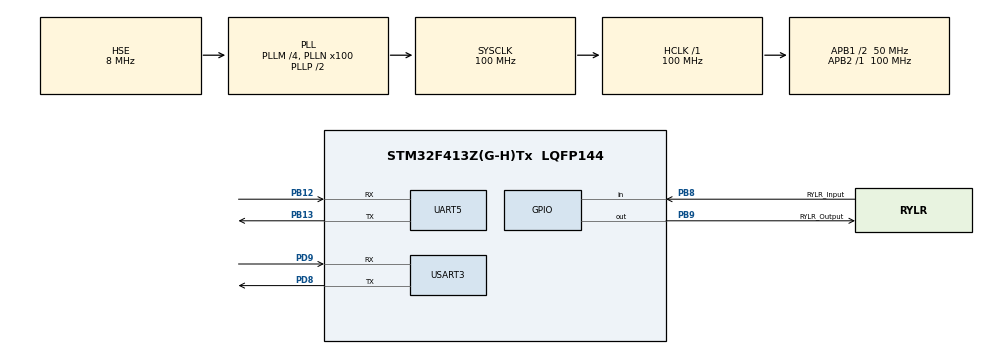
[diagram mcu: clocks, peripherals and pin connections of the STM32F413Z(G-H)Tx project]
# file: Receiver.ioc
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Dma.Request0=UART5_RX
Dma.UART5_RX.0.Direction=DMA_PERIPH_TO_MEMORY
Dma.UART5_RX.0.FIFOMode=DMA_FIFOMODE_DISABLE
Dma.UART5_RX.0.Instance=DMA1_Stream0
Dma.UART5_RX.0.MemDataAlignment=DMA_MDATAALIGN_BYTE
Dma.UART5_RX.0.MemInc=DMA_MINC_ENABLE
Dma.UART5_RX.0.Mode=DMA_NORMAL
Dma.UART5_RX.0.PeriphDataAlignment=DMA_PDATAALIGN_BYTE
Dma.UART5_RX.0.PeriphInc=DMA_PINC_DISABLE
Dma.UART5_RX.0.Priority=DMA_PRIORITY_LOW
Mcu.Family=STM32F4
Mcu.Name=STM32F413Z(G-H)Tx
Mcu.Package=LQFP144
NVIC.DMA1_Stream0_IRQn=true\:0\:0\:false\:false\:true\:false\:true\:true
NVIC.PriorityGroup=NVIC_PRIORITYGROUP_4
NVIC.TIM1_UP_TIM10_IRQn=true\:15\:0\:false\:false\:true\:false\:true\:true
NVIC.TimeBase=TIM1_UP_TIM10_IRQn
NVIC.TimeBaseIP=TIM1
NVIC.USART3_IRQn=true\:0\:0\:false\:false\:true\:true\:true\:true
PA13.Mode=Serial_Wire
PA13.Signal=SYS_JTMS-SWDIO
PA14.Mode=Serial_Wire
PA14.Signal=SYS_JTCK-SWCLK
PB12.Mode=Asynchronous
PB12.Signal=UART5_RX
PB13.Mode=Asynchronous
PB13.Signal=UART5_TX
PB8.GPIO_Label=RYLR_Input
PB8.Signal=GPIO_Input
PB9.GPIO_Label=RYLR_Output
PB9.Signal=GPIO_Output
PD8.Mode=Asynchronous
PD8.Signal=USART3_TX
PD9.Mode=Asynchronous
PD9.Signal=USART3_RX
PH0\ -\ OSC_IN.Mode=HSE-External-Oscillator
PH0\ -\ OSC_IN.Signal=RCC_OSC_IN
PH1\ -\ OSC_OUT.Mode=HSE-External-Oscillator
PH1\ -\ OSC_OUT.Signal=RCC_OSC_OUT
ProjectManager.HeapSize=0x200
ProjectManager.StackSize=0x400
ProjectManager.TargetToolchain=STM32CubeIDE
RCC.AHBFreq_Value=100000000
RCC.APB1CLKDivider=RCC_HCLK_DIV2
RCC.APB1Freq_Value=50000000
RCC.APB1TimFreq_Value=100000000
RCC.APB2Freq_Value=100000000
RCC.APB2TimFreq_Value=100000000
RCC.CortexFreq_Value=100000000
RCC.HCLKFreq_Value=100000000
RCC.HSE_VALUE=8000000
RCC.PLLM=4
RCC.PLLN=100
RCC.PLLSourceVirtual=RCC_PLLSOURCE_HSE
RCC.SYSCLKFreq_VALUE=100000000
RCC.SYSCLKSource=RCC_SYSCLKSOURCE_PLLCLK
RCC.USBFreq_Value=100000000
RCC.VCOOutputFreq_Value=200000000
UART5.VirtualMode=Asynchronous
USART3.VirtualMode=VM_ASYNC
VP_SYS_VS_tim1.Mode=TIM1
board=custom

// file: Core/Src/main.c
/* USER CODE BEGIN Header */
/**
  ******************************************************************************
  * @file           : main.c
  * @brief          : Main program body
  ******************************************************************************
  * @attention
  *
  * Copyright (c) 2022 STMicroelectronics.
  * All rights reserved.
  *
  * This software is licensed under terms that can be found in the LICENSE file
  * in the root directory of this software component.
  * If no LICENSE file comes with this software, it is provided AS-IS.
  *
  ******************************************************************************
  */
/* USER CODE END Header */
#include "main.h"

UART_HandleTypeDef huart5;
UART_HandleTypeDef huart3;
DMA_HandleTypeDef hdma_uart5_rx;

void SystemClock_Config(void);
static void MX_GPIO_Init(void);
static void MX_DMA_Init(void);
static void MX_USART3_UART_Init(void);
static void MX_UART5_Init(void);

/* USER CODE BEGIN 0 */

#define RxBuf_SIZE 84

uint8_t RxBuf[RxBuf_SIZE];

uint8_t buffer_ok[5];
uint8_t whoops[] = "Whoops\r\n";

void HAL_UARTEx_RxEventCallback(UART_HandleTypeDef *huart, uint16_t Size){

	/* PRINTING */

	 HAL_UART_Transmit(&huart3, RxBuf, RxBuf_SIZE, 100);

	/* start the DMA again */

	 HAL_UARTEx_ReceiveToIdle_DMA(&huart5, RxBuf, RxBuf_SIZE);
	 __HAL_DMA_DISABLE_IT(&hdma_uart5_rx, DMA_IT_HT);
}

/* USER CODE END 0 */

int main(void)
{

  /* MCU Configuration--------------------------------------------------------*/

  /* Reset of all peripherals, Initializes the Flash interface and the Systick. */
  HAL_Init();

  /* Configure the system clock */
  SystemClock_Config();

  /* Initialize all configured peripherals */
  MX_GPIO_Init();
  MX_DMA_Init();
  MX_USART3_UART_Init();
  MX_UART5_Init();
  /* USER CODE BEGIN 2 */

  uint8_t buffer[19] = "AT+BAND=868500000\r\n";
	uint8_t buffer4[16] = "AT+NETWORKID=5\r\n";
	uint8_t buffer5[16] = "AT+ADDRESS=102\r\n";

	  HAL_UART_Transmit(&huart5, buffer, sizeof(buffer), 100);

	  HAL_StatusTypeDef status1 = HAL_UART_Receive(&huart5, buffer_ok, sizeof(buffer_ok), 1000);
	  if(status1 != HAL_OK){
		  HAL_UART_Transmit(&huart3, whoops, sizeof(whoops), 100);
	  }
	  else{
		  HAL_UART_Transmit(&huart3, buffer_ok, sizeof(buffer_ok), 100);
	  }

	  HAL_Delay(1000);

	  HAL_UART_Transmit(&huart5, buffer4, sizeof(buffer4), 100);

		HAL_StatusTypeDef status2 = HAL_UART_Receive(&huart5, buffer_ok, sizeof(buffer_ok), 1000);
		if(status2 != HAL_OK){
		  HAL_UART_Transmit(&huart3, whoops, sizeof(whoops), 100);
		}
		else{
		  HAL_UART_Transmit(&huart3, buffer_ok, sizeof(buffer_ok), 100);
		}

		HAL_Delay(1000);

		HAL_UART_Transmit(&huart5, buffer5, sizeof(buffer5), 100);

	  HAL_StatusTypeDef status4 = HAL_UART_Receive(&huart5, buffer_ok, sizeof(buffer_ok), 1000);
	  if(status4 != HAL_OK){
		  HAL_UART_Transmit(&huart3, whoops, sizeof(whoops), 100);
	  }
	  else{
		  HAL_UART_Transmit(&huart3, buffer_ok, sizeof(buffer_ok), 100);
	  }

  HAL_UARTEx_ReceiveToIdle_DMA(&huart5, RxBuf, RxBuf_SIZE);
  __HAL_DMA_DISABLE_IT(&hdma_uart5_rx, DMA_IT_HT);

  /* USER CODE END 2 */

  /* Infinite loop */
  while (1)
  {

  }
}

void SystemClock_Config(void)
{
  RCC_OscInitTypeDef RCC_OscInitStruct = {0};
  RCC_ClkInitTypeDef RCC_ClkInitStruct = {0};

  /** Configure the main internal regulator output voltage
  */
  __HAL_RCC_PWR_CLK_ENABLE();
  __HAL_PWR_VOLTAGESCALING_CONFIG(PWR_REGULATOR_VOLTAGE_SCALE1);

  /** Initializes the RCC Oscillators according to the specified parameters
  * in the RCC_OscInitTypeDef structure.
  */
  RCC_OscInitStruct.OscillatorType = RCC_OSCILLATORTYPE_HSE;
  RCC_OscInitStruct.HSEState = RCC_HSE_ON;
  RCC_OscInitStruct.PLL.PLLState = RCC_PLL_ON;
  RCC_OscInitStruct.PLL.PLLSource = RCC_PLLSOURCE_HSE;
  RCC_OscInitStruct.PLL.PLLM = 4;
  RCC_OscInitStruct.PLL.PLLN = 100;
  RCC_OscInitStruct.PLL.PLLP = RCC_PLLP_DIV2;
  RCC_OscInitStruct.PLL.PLLQ = 2;
  RCC_OscInitStruct.PLL.PLLR = 2;
  if (HAL_RCC_OscConfig(&RCC_OscInitStruct) != HAL_OK)
  {
    Error_Handler();
  }

  /** Initializes the CPU, AHB and APB buses clocks
  */
  RCC_ClkInitStruct.ClockType = RCC_CLOCKTYPE_HCLK|RCC_CLOCKTYPE_SYSCLK
                              |RCC_CLOCKTYPE_PCLK1|RCC_CLOCKTYPE_PCLK2;
  RCC_ClkInitStruct.SYSCLKSource = RCC_SYSCLKSOURCE_PLLCLK;
  RCC_ClkInitStruct.AHBCLKDivider = RCC_SYSCLK_DIV1;
  RCC_ClkInitStruct.APB1CLKDivider = RCC_HCLK_DIV2;
  RCC_ClkInitStruct.APB2CLKDivider = RCC_HCLK_DIV1;

  if (HAL_RCC_ClockConfig(&RCC_ClkInitStruct, FLASH_LATENCY_3) != HAL_OK)
  {
    Error_Handler();
  }
}

static void MX_UART5_Init(void)
{

  huart5.Instance = UART5;
  huart5.Init.BaudRate = 115200;
  huart5.Init.WordLength = UART_WORDLENGTH_8B;
  huart5.Init.StopBits = UART_STOPBITS_1;
  huart5.Init.Parity = UART_PARITY_NONE;
  huart5.Init.Mode = UART_MODE_TX_RX;
  huart5.Init.HwFlowCtl = UART_HWCONTROL_NONE;
  huart5.Init.OverSampling = UART_OVERSAMPLING_16;
  if (HAL_UART_Init(&huart5) != HAL_OK)
  {
    Error_Handler();
  }

}

static void MX_USART3_UART_Init(void)
{

  huart3.Instance = USART3;
  huart3.Init.BaudRate = 115200;
  huart3.Init.WordLength = UART_WORDLENGTH_8B;
  huart3.Init.StopBits = UART_STOPBITS_1;
  huart3.Init.Parity = UART_PARITY_NONE;
  huart3.Init.Mode = UART_MODE_TX_RX;
  huart3.Init.HwFlowCtl = UART_HWCONTROL_NONE;
  huart3.Init.OverSampling = UART_OVERSAMPLING_16;
  if (HAL_UART_Init(&huart3) != HAL_OK)
  {
    Error_Handler();
  }

}

static void MX_DMA_Init(void)
{

  /* DMA controller clock enable */
  __HAL_RCC_DMA1_CLK_ENABLE();

  /* DMA interrupt init */
  /* DMA1_Stream0_IRQn interrupt configuration */
  HAL_NVIC_SetPriority(DMA1_Stream0_IRQn, 0, 0);
  HAL_NVIC_EnableIRQ(DMA1_Stream0_IRQn);

}

static void MX_GPIO_Init(void)
{
  GPIO_InitTypeDef GPIO_InitStruct = {0};

  /* GPIO Ports Clock Enable */
  __HAL_RCC_GPIOH_CLK_ENABLE();
  __HAL_RCC_GPIOB_CLK_ENABLE();
  __HAL_RCC_GPIOD_CLK_ENABLE();
  __HAL_RCC_GPIOA_CLK_ENABLE();

  /*Configure GPIO pin Output Level */
  HAL_GPIO_WritePin(RYLR_Output_GPIO_Port, RYLR_Output_Pin, GPIO_PIN_RESET);

  /*Configure GPIO pin : RYLR_Input_Pin */
  GPIO_InitStruct.Pin = RYLR_Input_Pin;
  GPIO_InitStruct.Mode = GPIO_MODE_INPUT;
  GPIO_InitStruct.Pull = GPIO_NOPULL;
  HAL_GPIO_Init(RYLR_Input_GPIO_Port, &GPIO_InitStruct);

  /*Configure GPIO pin : RYLR_Output_Pin */
  GPIO_InitStruct.Pin = RYLR_Output_Pin;
  GPIO_InitStruct.Mode = GPIO_MODE_OUTPUT_PP;
  GPIO_InitStruct.Pull = GPIO_NOPULL;
  GPIO_InitStruct.Speed = GPIO_SPEED_FREQ_LOW;
  HAL_GPIO_Init(RYLR_Output_GPIO_Port, &GPIO_InitStruct);

}

void HAL_TIM_PeriodElapsedCallback(TIM_HandleTypeDef *htim)
{
  if (htim->Instance == TIM1) {
    HAL_IncTick();
  }
}

void Error_Handler(void)
{
  __disable_irq();
  while (1)
  {
  }
}
